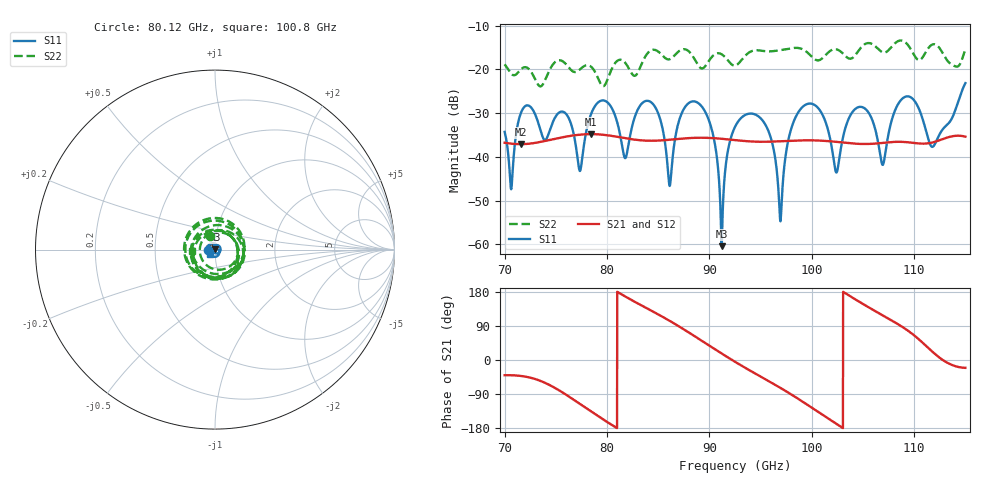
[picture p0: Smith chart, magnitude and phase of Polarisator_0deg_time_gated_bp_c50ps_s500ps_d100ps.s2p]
# Hz S RI R 1.000000
! Metas.Vna.Tools, 2.4.7898.19887
! Metas.Vna.Data, 2.4.7898.19873
! Created: UTC 2021.09.30 14:30:59
! FREQ  re:S1,1  im:S1,1  re:S2,1  im:S2,1  re:S1,2  im:S1,2  re:S2,2  im:S2,2
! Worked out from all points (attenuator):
!   2251 points, 70 GHz to 115 GHz, reference 1 ohm
!   highest |S21| = -34.79 dB at 78.46 GHz (marker M1); lowest = -37.1 dB at 71.56 GHz (marker M2)
!   lowest |S11| = -60.4 dB at 91.2 GHz (marker M3), VSWR 1.00, Z = 1 + j0.00188 ohm
!   |S11| at or under -10 dB: start of sweep to end of sweep
!   |S22| runs from -23.9 to -13.4 dB; largest |S21 - S12| = 0.0016
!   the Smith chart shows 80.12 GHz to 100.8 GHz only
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7e10  -0.0161 -0.0107  0.0111 -0.00936  0.0112 -0.00941  0.0943 -0.0645
7.066e10  -0.000855 -0.00424  0.0108 -0.00915  0.0109 -0.0092  -0.0469 -0.0757
7.156e10  0.0082 -0.03  0.0104 -0.00935  0.0105 -0.0094  -0.0377 0.0919
7.75e10  0.00818 -0.000437  -0.00864 -0.0158  -0.0087 -0.0158  -0.00846 0.1031
7.846e10  -0.00208 -0.0312  -0.0131 -0.0126  -0.0132 -0.0126  0.105 -0.02
8.178e10  -0.00962 -0.00112  -0.016 0.00351  -0.016 0.00347  0.0468 -0.1093
8.5e10  -0.0125 0.0288  -0.00777 0.0133  -0.0078 0.0133  -0.0268 -0.1577
8.612e10  0.00441 -0.0015  -0.00362 0.0153  -0.00362 0.0154  -0.0688 0.1112
8.742e10  -0.0324 -0.00993  0.0022 0.0161  0.00224 0.0161  0.148 -0.0835
8.942e10  -0.00426 0.0352  0.0111 0.0123  0.0112 0.0122  0.0039 0.1038
9.12e10  -0.000169 0.000941  0.0154 0.00473  0.0155 0.00465  -0.0721 -0.1301
9.25e10  -0.0063 0.0211  0.0155 -0.00126  0.0155 -0.0013  0.0233 0.1081
9.542e10  0.0104 -0.0215  0.00956 -0.0114  0.00958 -0.0114  -0.00691 0.1615
9.694e10  -0.00105 0.00151  0.00425 -0.0145  0.00426 -0.0145  0.0088 -0.1657
9.802e10  0.0211 -0.00429  -0.000358 -0.0153  -0.00038 -0.0154  -0.1487 0.0912
1e11  -0.0108 -0.039  -0.00907 -0.0125  -0.00918 -0.0126  0.0357 -0.135
1.0238e11  -0.00437 -0.00501  -0.0146 -0.003  -0.0147 -0.00306  0.1689 -0.0165
1.0434e11  -0.0208 -0.0294  -0.0132 0.00518  -0.0134 0.00509  -0.052 0.1414
1.075e11  -0.00619 -0.0175  -0.00479 0.0139  -0.00518 0.0138  -0.0499 0.1584
1.0948e11  -0.049 -0.00184  0.00365 0.0142  0.00321 0.0144  -0.0324 -0.1811
1.1186e11  -0.012 0.0054  0.0138 0.005  0.0137 0.00596  0.1626 -0.1053
1.15e11  -0.0671 0.0191  0.0159 -0.00603  0.0165 -0.00457  0.068 -0.1563
